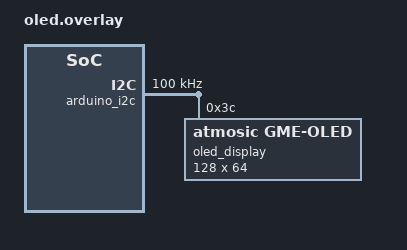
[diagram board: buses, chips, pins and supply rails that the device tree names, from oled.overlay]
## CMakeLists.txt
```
# Copyright (c) 2025-2026 Atmosic
#
# SPDX-License-Identifier: LicenseRef-Atmosic

cmake_minimum_required(VERSION 3.20.0)
find_package(Zephyr REQUIRED HINTS $ENV{ZEPHYR_BASE})
project(ras_rreq_initiator)

include_directories(
  src
)

set(app_sources
  src/main.c
  src/rreq_smf.c
)

target_sources(app PRIVATE
  ${app_sources}
)

target_sources_ifdef(CONFIG_RREQ_USE_ARIAD app PRIVATE src/cs_distance.c)
target_sources_ifdef(CONFIG_RREQ_USE_DISPLAY app PRIVATE src/cs_display.c)
```

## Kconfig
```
# Copyright (c) 2025-2026 Atmosic
#
# SPDX-License-Identifier: LicenseRef-Atmosic

source "Kconfig.zephyr"

config BTN_DISABLE_CS_PROC
	bool "Enable/Disable CS Procedure with Button"

config AUTO_ENABLE_CS_FOR_UNSPECIFIED_ABORT
	bool "Auto Enable CS Procedure as abort with unspecified reason"
	default y

config CS_PROC_ANT_CFG_SEL
	int "CS Tone Antenna Selection 0:1_1 1:2_1 2:3_1 3:4_1 4:1-2 5:1_3 6:1_4 7:2_2"
	range 0 7
	default 7

config TX_POWER_DELTA
	int "Transmit Power Delta (signed dB)"
	range -128 127
	default 0
	help
	  Transmit power delta, in signed dB, to indicate the recommended difference
	  between the remote device's power level for the CS tones and RTT packets
	  and the existing power level for the PHY indicated by the PHY parameter.
	  Value 0x80 (-128) indicates that the host does not have a recommendation
	  for transmit power delta.

config TX_PHY_CS_REF
	bool "Use current TX PHY as CS reference TX power PHY"
	depends on BT_USER_PHY_UPDATE
	default y
	help
	  Enable to use the current TX PHY as the reference PHY for CS transmit power.
	  When enabled, the CS procedure will use the same PHY settings as the current
	  TX PHY for power reference calculations.

config READ_RSSI
	bool "Read RSSI after CS procedure"

config ATM_BT_PHY_UPDATE
	bool "Enable PHY Update"
	depends on BT_USER_PHY_UPDATE
	help
	  Enable automatic PHY update to the configured mode if a different PHY is detected
	  during connection. When enabled, the system will attempt to update the PHY to the
	  mode specified by CONFIG_ATM_BT_PHY.

config ATM_BT_PHY
	int "Preferred PHY Mode"
	depends on ATM_BT_PHY_UPDATE
	range 0 2
	default 1
	help
	  Select the preferred PHY mode for automatic PHY updates:
	  0: 1M PHY - Enhanced range and signal penetration
	  1: 2M PHY - Higher data rate for improved throughput
	  2: Coded PHY - Extended range with lower data rate

config ATM_CS_QUICK_TEST
	bool "CS interval with 180ms with two sub-events"

config RREQ_SET_RAS_FILTER
	bool "Set RAS Mode 2 ranging data filter"
	help
	  When enabled, after subscribing to the RAS Control Point and
	  before subscribing to ranging data, the initiator sends a
	  Set Filter CP command with Mode 2 and the mask value
	  configured by RREQ_RAS_FILTER_MODE_2_MASK to filter out the
	  selected Mode 2 fields from ranging data reported by the
	  server.

config RREQ_RAS_FILTER_MODE_2_MASK
	hex "Mode 2 filter mask value for Set Filter CP command"
	depends on RREQ_SET_RAS_FILTER
	range 0x0000 0x3FFF
	default 0x3FF8
	help
	  14-bit filter mask value sent with the Set Filter CP command
	  for Mode 2. A set bit keeps the corresponding field in the
	  ranging data; a cleared bit filters it out.

	  Mode 2 mask bits:
	    bit 0   : Antenna Permutation Index
	    bit 1   : Phase Correction Term
	    bit 2   : Quality Indicator and Extension Indicator
	    bit 3-6 : Antenna Path 1~3 unsupported indication

	  The default 0x3FF8 clears all step data for mode2

config ENABLE_CS_REF_IPT
	bool "Enable CS reflector inline PCT"
	select BT_LE_EXTENDED_FEAT_SET
	select ATM_ENA_LL_FEAT_CS_ENH1

config FORCE_DISABLE_IPT
	bool "Support IPT but disable IPT for CS config"
	depends on ENABLE_CS_REF_IPT

config RREQ_DISABLE_RD_SUB
	bool "Disable ranging data subscriptions"
	help
	  When enabled, the initiator skips all ranging data
	  subscriptions in the RREQ_SMF_RAS_SUBSCRIBE state. This
	  covers both the real-time ranging data subscription (when
	  RAS_CLIENT_REAL_TIME_RD is enabled) and the on-demand
	  ranging data subscriptions (ranging data overwritten,
	  ranging data ready, and on-demand ranging data). Only the
	  RAS Control Point subscription is kept.

config RREQ_IQ_DUMP
	bool "Stream the raw CS IQ records over the console UART"
	default y
	help
	  On by default: Stream the raw CS IQ records over the console UART.

config RREQ_USE_ARIAD
	bool "Link the Ariad distance estimator (openair/lib/ariad)"
	select ATM_ARIAD_LIB
	help
	  Links the prebuilt libariad.a from openair/lib/ariad and enables the
	  estimator-backed CS distance path (cs_distance.c). Exercised by the
	  applications.ras_rreq_initiator.atm.ariad test configuration.

config RREQ_USE_DISPLAY
	bool "Show the CS distance on a GME OLED"
	depends on RREQ_USE_ARIAD
	select I2C
	select DISPLAY
	select CHARACTER_FRAMEBUFFER
	help
	  Enables cs_display.c, which mirrors the smoothed CS distance from the
	  Ariad estimator to a GME I2C OLED (the oled_display node in
	  oled.overlay) through the character framebuffer. Separate from
	  RREQ_USE_ARIAD; prj.conf sets it n by default so boards without the OLED
	  module still build the estimator path cleanly. Set
	  CONFIG_RREQ_USE_DISPLAY=y in prj.conf (or a board overlay) on a board
	  that carries the OLED, and pass oled.overlay so the node exists.

module = RREQ
module-str = RREQ
source "subsys/logging/Kconfig.template.log_config"

module = RREQ_SMF
module-str = RREQ_SMF
source "subsys/logging/Kconfig.template.log_config"
```

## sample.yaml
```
# Copyright (c) 2025-2026 Atmosic
#
# SPDX-License-Identifier: LicenseRef-Atmosic

sample:
  name: Bluetooth Central RAS RREQ Initiator
  description: Demonstrates the ranging requestor RAS
common:
  sysbuild: true
  harness: console
  harness_config:
    type: one_line
    regex:
      - "scan entry"
  tags:
    - bluetooth
    - channel_sounding
  # app.overlay drives &button1, so it only compiles on a board declaring a
  # second user button.
  depends_on:
    - button1
    - channel_sounding
tests:
  applications.ras_rreq_initiator.atm:
    tags:
      - openair_release
    extra_args:
      - spe_DTC_OVERLAY_FILE=${ZEPHYR_OPENAIR_MODULE_DIR}/applications/ras_rreq_initiator/spe_uart0.overlay
  applications.ras_rreq_initiator.atm.ariad:
    tags:
      - ariad
    extra_args:
      - spe_DTC_OVERLAY_FILE=${ZEPHYR_OPENAIR_MODULE_DIR}/applications/ras_rreq_initiator/spe_uart0.overlay
      - EXTRA_CONF_FILE=cs_ariad.conf
  applications.ras_rreq_initiator.atm.ariad.oled:
    tags:
      - ariad
    extra_args:
      - spe_DTC_OVERLAY_FILE=${ZEPHYR_OPENAIR_MODULE_DIR}/applications/ras_rreq_initiator/spe_uart0.overlay
      - EXTRA_DTC_OVERLAY_FILE=oled.overlay
      - EXTRA_CONF_FILE=cs_ariad.conf
    extra_configs:
      - CONFIG_RREQ_USE_DISPLAY=y
  applications.ras_rreq_initiator.atm.ipt:
    tags:
      - openair_release
    extra_args:
      - spe_DTC_OVERLAY_FILE=${ZEPHYR_OPENAIR_MODULE_DIR}/applications/ras_rreq_initiator/spe_uart0.overlay
    extra_configs:
      - CONFIG_ENABLE_CS_REF_IPT=y
  applications.ras_rreq_initiator.atm.ipt.no_rd_sub:
    extra_args:
      - spe_DTC_OVERLAY_FILE=${ZEPHYR_OPENAIR_MODULE_DIR}/applications/ras_rreq_initiator/spe_uart0.overlay
    extra_configs:
      - CONFIG_ENABLE_CS_REF_IPT=y
      - CONFIG_RREQ_DISABLE_RD_SUB=y
  applications.ras_rreq_initiator.atm.ras_c_shell:
    extra_configs:
      - CONFIG_RAS_CLIENT_SHELL=y
      - CONFIG_LOG_BACKEND_UART=y
      - CONFIG_SHELL_LOG_BACKEND=n
  applications.ras_rreq_initiator.atm.pwr_info:
    extra_configs:
      - CONFIG_BT_TRANSMIT_POWER_CONTROL=y
      - CONFIG_READ_RSSI=y
  applications.ras_rreq_initiator.atm.phy_update:
    extra_configs:
      - CONFIG_ATM_BT_PHY_UPDATE=y
  applications.ras_rreq_initiator.atm.mcuboot.flash_xip:
    tags:
      - mcuboot
      - flash_xip
    depends_on:
      - flash
      - rram
      - xip
    extra_args:
      - SB_CONFIG_BOOTLOADER_MCUBOOT=y
      - SB_CONFIG_BOOT_SIGNATURE_TYPE_ECDSA_P256=y
      - SB_CONFIG_MCUBOOT_MODE_SWAP_USING_OFFSET=y
      - SB_ATM_DTS_EXTRA_CPPFLAGS="-DATM_APP_FLASH_XIP"
      - mcuboot_CONFIG_UPDATEABLE_IMAGE_NUMBER=2
  applications.ras_rreq_initiator.atm.mcuboot.flash_xip.legacy_scratch:
    tags:
      - mcuboot
      - flash_xip
      - legacy
    depends_on:
      - flash
      - rram
      - xip
    extra_args:
      - SB_CONFIG_BOOTLOADER_MCUBOOT=y
      - SB_CONFIG_BOOT_SIGNATURE_TYPE_ECDSA_P256=y
      - SB_CONFIG_MCUBOOT_MODE_SWAP_SCRATCH=y
      - SB_ATM_DTS_EXTRA_CPPFLAGS="-DATM_APP_FLASH_XIP;-DATM_MCUBOOT_SWAP_WITH_OFFSET=0"
      - mcuboot_CONFIG_UPDATEABLE_IMAGE_NUMBER=2
  applications.ras_rreq_initiator.atm.mcuboot.flash_xip.overwrite:
    tags:
      - mcuboot
      - flash_xip
      - overwrite
    depends_on:
      - flash
      - rram
      - xip
    extra_args:
      - SB_CONFIG_BOOTLOADER_MCUBOOT=y
      - SB_CONFIG_BOOT_SIGNATURE_TYPE_ECDSA_P256=y
      - SB_CONFIG_MCUBOOT_MODE_OVERWRITE_ONLY=y
      - SB_ATM_DTS_EXTRA_CPPFLAGS="-DATM_APP_FLASH_XIP;-DATM_MCUBOOT_SCRATCH_SIZE=0"
      - mcuboot_CONFIG_UPDATEABLE_IMAGE_NUMBER=2
      - mcuboot_CONFIG_MCUBOOT_VERIFY_IMG_ADDRESS=n
  applications.ras_rreq_initiator.atm.two_dev:
    tags:
      - two_dev
    extra_args:
      - EXTRA_DTC_OVERLAY_FILE=no_button.overlay
      - spe_DTC_OVERLAY_FILE=${ZEPHYR_OPENAIR_MODULE_DIR}/applications/ras_rreq_initiator/spe_uart0.overlay
    extra_configs:
      - CONFIG_BT_LOG_SNIFFER_INFO=y
    harness: pytest
    timeout: 600
    harness_config:
      pytest_root: ["pytest"]
  applications.ras_rreq_initiator.atm.two_dev.quick:
    tags:
      - two_dev
    extra_args:
      - EXTRA_DTC_OVERLAY_FILE=no_button.overlay
      - spe_DTC_OVERLAY_FILE=${ZEPHYR_OPENAIR_MODULE_DIR}/applications/ras_rreq_initiator/spe_uart0.overlay
    extra_configs:
      - CONFIG_BT_LOG_SNIFFER_INFO=y
      - CONFIG_ATM_CS_QUICK_TEST=y
    timeout: 720
    harness_config:
      type: one_line
      regex:
        - "Init Proc:3000"
```

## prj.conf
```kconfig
# Copyright (c) 2025-2026 Atmosic
#
# SPDX-License-Identifier: LicenseRef-Atmosic

# STACK SIZE
CONFIG_MAIN_STACK_SIZE=2048
CONFIG_SYSTEM_WORKQUEUE_STACK_SIZE=2048

# LOG
CONFIG_LOG=y

# Power Management
CONFIG_PM=n

# BT
CONFIG_BT=y
CONFIG_BT_CENTRAL=y
CONFIG_BT_SMP=y
CONFIG_BT_PRIVACY=y
CONFIG_BT_ATT_TX_COUNT=4
CONFIG_BT_CHANNEL_SOUNDING=y
CONFIG_BT_USER_PHY_UPDATE=y
CONFIG_BT_AUTO_PHY_CENTRAL_NONE=y

CONFIG_BT_DEVICE_NAME="Atmosic_RAS_RREQ"

# SETTINGS
CONFIG_BT_SETTINGS=y
CONFIG_FLASH=y
CONFIG_FLASH_PAGE_LAYOUT=y
CONFIG_FLASH_MAP=y
CONFIG_NVS=y
CONFIG_SETTINGS=y

# STACK SENTINEL
CONFIG_STACK_SENTINEL=y

# APP work queue
CONFIG_APP_WORK_Q=y

CONFIG_SMF=y

# RAS client
CONFIG_BT_RAS_CLIENT=y
CONFIG_LOG_BUFFER_SIZE=10240
CONFIG_LOG_BACKEND_UART_BUFFER_SIZE=10240
CONFIG_LOG_BACKEND_SHOW_COLOR=n
CONFIG_LOG_BACKEND_FORMAT_TIMESTAMP=n
CONFIG_LOG_FUNC_NAME_PREFIX_DBG=n

# LL FEAT
CONFIG_ATM_ENA_LL_FEAT_CS=y
CONFIG_ATM_ENA_LL_FEAT_PERIPHERAL=n
CONFIG_ATM_ENA_LL_FEAT_BROADCASTER=n
CONFIG_ATM_ENA_LL_FEAT_PAWR=n
```

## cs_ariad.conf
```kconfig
# Copyright (c) 2025-2026 Atmosic
#
# SPDX-License-Identifier: LicenseRef-Atmosic

CONFIG_RREQ_USE_ARIAD=y
CONFIG_MAIN_STACK_SIZE=4096
CONFIG_LOG_BUFFER_SIZE=2048
CONFIG_LOG_BACKEND_UART_BUFFER_SIZE=2048
CONFIG_LOG_PROCESS_THREAD_SLEEP_MS=100
CONFIG_ATM_LL_HEAP_SIZE=34672

# Ariad not support IQ dump
CONFIG_RREQ_IQ_DUMP=n

# OLED Display
# Support Module
#   - GME: GM009605
#   - GME: GME12864
CONFIG_RREQ_USE_DISPLAY=n
```

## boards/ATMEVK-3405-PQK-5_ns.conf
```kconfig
# BT STKLIB
CONFIG_ATMWSTK_FULL=y
```

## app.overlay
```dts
/*
 * Copyright (c) 2025-2026 Atmosic
 *
 * SPDX-License-Identifier: LicenseRef-Atmosic
 */

/ {
	aliases {
		sw1 = &button1;
	};

	chosen {
		zephyr,console = &uart0;
		zephyr,shell-uart = &uart0;
	};
};

&uart0 {
	status = "okay";
	current-speed = <2000000>;
	hw-flow-control;
};

&atm_antenna {
	status = "okay";
	ant-out5-pin = <5>;
	mdm-ant-rx-3to0 = <0x00002000>;
	mdm-ant-tx-3to0 = <0x00002000>;
	mdm-ant-idle = <0x0>;
};

&wdog0 {
	status = "okay";
};
```

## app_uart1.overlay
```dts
/*
 * Copyright (c) 2025-2026 Atmosic
 *
 * SPDX-License-Identifier: LicenseRef-Atmosic
 */

/ {
	aliases {
		sw1 = &button1;
	};
};

&atm_antenna {
	status = "okay";
	ant-out5-pin = <5>;
	mdm-ant-rx-3to0 = <0x00002000>;
	mdm-ant-tx-3to0 = <0x00002000>;
	mdm-ant-idle = <0x0>;
};

&wdog0 {
	status = "okay";
};
```

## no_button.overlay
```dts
/*
 * Copyright (c) 2025-2026 Atmosic
 *
 * SPDX-License-Identifier: LicenseRef-Atmosic
 */

/*
 * Test overlay to disable button1 for testing ras_rrsp_initiator application
 * without button hardware
 */

&button1 {
	status = "disabled";
};
```

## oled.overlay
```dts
/*
 * Copyright (c) 2026 Atmosic
 *
 * SPDX-License-Identifier: LicenseRef-Atmosic
 */

/*
 * GME OLED on the Arduino I2C header, for CONFIG_RREQ_USE_DISPLAY.
 * cs_display.c binds through chosen/zephyr,display, so that property is what
 * actually selects the panel. Mirrors samples/drivers/display/gme/app.overlay.
 *
 * Apply on top of the default app.overlay:
 *   -DEXTRA_DTC_OVERLAY_FILE=oled.overlay -DCONFIG_RREQ_USE_DISPLAY=y
 *
 * arduino_i2c and the i2c0 pinctrl live behind ATM_DTS_USER_APP in the board
 * .dts, which is set automatically for the non-secure application image, so no
 * extra DTS_EXTRA_CPPFLAGS are needed here.
 */

/ {
	chosen {
		zephyr,display = &oled_display;
	};
};

&arduino_i2c {
	status = "okay";
	clock-frequency = <I2C_BITRATE_STANDARD>;

	oled_display: oled@3c {
		compatible = "atmosic,gme-oled";
		reg = <0x3c>;
		width = <128>;
		height = <64>;
		display-offset = <0>;
		multiplex-ratio = <63>;
		segment-remap;
		com-invdir;

		/* Both modules' datasheets ask for these two. */
		prechargep = <0xf1>;
		vcom-desel-level = <0x40>;

		max-write-len = <8>;
		write-gap-us = <2000>;
	};
};
```

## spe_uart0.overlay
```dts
/*
 * Copyright (c) 2025-2026 Atmosic
 *
 * SPDX-License-Identifier: LicenseRef-Atmosic
 */

/ {
	chosen {
		zephyr,console = &uart0;
		zephyr,shell-uart = &uart0;
	};
};

&uart0 {
	status = "okay";
	current-speed = <2000000>;
	hw-flow-control;
};
```

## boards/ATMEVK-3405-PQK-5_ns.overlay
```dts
/*
 * Copyright (c) 2025 Atmosic
 *
 * SPDX-License-Identifier: Apache-2.0
 */

/ {
	aliases {
		sw1 = &button1;
	};

	chosen {
		zephyr,console = &uart0;
		zephyr,shell-uart = &uart0;
	};
};

&uart0 {
	status = "okay";
	current-speed = <2000000>;
	hw-flow-control;
};

&atm_antenna {
	status = "okay";
	ant-out5-pin = <5>;
	mdm-ant-rx-3to0 = <0x00002000>;
	mdm-ant-tx-3to0 = <0x00002000>;
	mdm-ant-idle = <0x0>;
};
```

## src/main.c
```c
/*
 * Copyright (c) 2025-2026 Atmosic
 *
 * SPDX-License-Identifier: LicenseRef-Atmosic
 */

#include <zephyr/drivers/watchdog.h>
#include <zephyr/logging/log.h>

#include "app_work_q.h"
#include "rreq_smf.h"
#if defined(CONFIG_RREQ_USE_ARIAD) && defined(CONFIG_RREQ_USE_DISPLAY)
#include "cs_display.h"
#endif

LOG_MODULE_REGISTER(rreq, CONFIG_RREQ_LOG_LEVEL);

#define WDT_POKE_TIME     K_SECONDS(3)
#define WDT_MIN_WINDOW_MS 0
#define WDT_MAX_WINDOW_MS 5000

static struct device const *wdog_dev = DEVICE_DT_GET(DT_ALIAS(watchdog0));
static int wdt_channel_id;
static struct k_work_delayable wdt_poke_work;

static void wdt_poke_work_handler(struct k_work *work)
{
	wdt_feed(wdog_dev, wdt_channel_id);
	atm_work_schedule_for_app_work_q(&wdt_poke_work, WDT_POKE_TIME);
}

int main(void)
{
	const struct wdt_timeout_cfg wdt_config = {
		.flags = WDT_FLAG_RESET_SOC,
		.window.min = WDT_MIN_WINDOW_MS,
		.window.max = WDT_MAX_WINDOW_MS,
	};

	wdt_channel_id = wdt_install_timeout(wdog_dev, &wdt_config);
	if (wdt_channel_id < 0) {
		LOG_ERR("Watchdog install error: %d", wdt_channel_id);
		return 1;
	}

	int ret = wdt_setup(wdog_dev, 0);
	if (ret < 0) {
		LOG_ERR("Watchdog setup error: %d", ret);
		return 1;
	}

	k_work_init_delayable(&wdt_poke_work, wdt_poke_work_handler);
	atm_work_schedule_for_app_work_q(&wdt_poke_work, WDT_POKE_TIME);

#if defined(CONFIG_RREQ_USE_ARIAD) && defined(CONFIG_RREQ_USE_DISPLAY)
	cs_display_init();
#endif

	rreq_smf_init();

	return 0;
}
```

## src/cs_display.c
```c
/*
 * Copyright (c) 2026 Atmosic
 *
 * SPDX-License-Identifier: LicenseRef-Atmosic
 */

#include "cs_display.h"

#include <stdio.h>
#include <string.h>

#include <zephyr/kernel.h>
#include <zephyr/device.h>
#include <zephyr/devicetree.h>
#include <zephyr/drivers/display.h>
#include <zephyr/display/cfb.h>
#include <zephyr/logging/log.h>

LOG_MODULE_REGISTER(cs_display, CONFIG_RREQ_LOG_LEVEL);

#define CS_DISPLAY_TITLE     "Atmosic"
#define CS_DISPLAY_BAND_ROWS 16
#define CS_DISPLAY_MAX_COLS  6

static const struct device *const display_dev = DEVICE_DT_GET(DT_CHOSEN(zephyr_display));
static bool display_ready;
static uint16_t disp_w;
static uint16_t disp_h;
static uint8_t title_font;
static uint8_t title_fw;
static uint8_t title_fh;
static uint8_t value_font;
static uint8_t value_fw;
static uint8_t value_fh;

/* Largest built-in font whose `cols` characters still fit `max_h` rows. */
static uint8_t cs_display_pick_font(size_t cols, uint8_t max_h, uint8_t *out_w, uint8_t *out_h)
{
	uint8_t best = 0;
	uint8_t fw;
	uint8_t fh;

	*out_w = 0;
	*out_h = 0;
	for (uint8_t idx = 0; cfb_get_font_size(display_dev, idx, &fw, &fh) == 0; idx++) {
		if (((size_t)fw * cols <= disp_w) && (fh <= max_h)) {
			best = idx;
			*out_w = fw;
			*out_h = fh;
		}
	}
	if (!*out_w) {
		/* Nothing fits the budget; fall back to the smallest font. */
		cfb_get_font_size(display_dev, 0, out_w, out_h);
	}
	return best;
}

/* Horizontally centre one line of text on the given top row. */
static void cs_display_print_centered(const char *s, uint8_t fw, int y)
{
	int x = ((int)disp_w - (int)(fw * strlen(s))) / 2;

	cfb_print(display_dev, s, MAX(x, 0), y);
}

void cs_display_init(void)
{
	if (!device_is_ready(display_dev)) {
		LOG_ERR("Display device %s not ready", display_dev->name);
		return;
	}

	if (display_set_pixel_format(display_dev, PIXEL_FORMAT_MONO10) != 0 &&
	    display_set_pixel_format(display_dev, PIXEL_FORMAT_MONO01) != 0) {
		LOG_ERR("Failed to set display pixel format");
		return;
	}

	if (cfb_framebuffer_init(display_dev)) {
		LOG_ERR("Framebuffer initialization failed");
		return;
	}

	cfb_framebuffer_clear(display_dev, true);
	display_blanking_off(display_dev);

	disp_w = cfb_get_display_parameter(display_dev, CFB_DISPLAY_WIDTH);
	disp_h = cfb_get_display_parameter(display_dev, CFB_DISPLAY_HEIGHT);

	title_font = cs_display_pick_font(strlen(CS_DISPLAY_TITLE), CS_DISPLAY_BAND_ROWS, &title_fw,
					  &title_fh);
	value_font =
		cs_display_pick_font(CS_DISPLAY_MAX_COLS, (uint8_t)(disp_h - CS_DISPLAY_BAND_ROWS),
				     &value_fw, &value_fh);

	LOG_INF("Display %ux%u title font %u (%ux%u) value font %u (%ux%u)", disp_w, disp_h,
		title_font, title_fw, title_fh, value_font, value_fw, value_fh);

	display_ready = true;
}

void cs_display_show_distance(const char *smoothed_distance_m)
{
	char line[24];

	if (!display_ready) {
		return;
	}

	/* smoothed_distance_m is already formatted to one fractional digit
	 * (e.g. "1.2" or "nan") by fmt_m_1dp() in cs_distance.c, so it only
	 * needs the unit suffix appended here. */
	snprintf(line, sizeof(line), "%s m", smoothed_distance_m);

	/* Each line centred within its own colour band so neither straddles the
	 * yellow/blue boundary at CS_DISPLAY_BAND_ROWS. */
	int title_y = ((int)CS_DISPLAY_BAND_ROWS - (int)title_fh) / 2;
	int value_y =
		CS_DISPLAY_BAND_ROWS + ((int)disp_h - CS_DISPLAY_BAND_ROWS - (int)value_fh) / 2;

	cfb_framebuffer_clear(display_dev, false);
	cfb_framebuffer_set_font(display_dev, title_font);
	cs_display_print_centered(CS_DISPLAY_TITLE, title_fw, MAX(title_y, 0));
	cfb_framebuffer_set_font(display_dev, value_font);
	cs_display_print_centered(line, value_fw, MAX(value_y, CS_DISPLAY_BAND_ROWS));
	cfb_framebuffer_finalize(display_dev);
}
```

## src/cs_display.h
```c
/*
 * Copyright (c) 2026 Atmosic
 *
 * SPDX-License-Identifier: LicenseRef-Atmosic
 */

#pragma once

#include <zephyr/autoconf.h>

#ifdef __cplusplus
extern "C" {
#endif

/**
 * @brief Initialize the I2C GME OLED display and its character
 * framebuffer. Call once at startup, before cs_display_show_distance() is
 * used. If the display device is not ready, subsequent
 * cs_display_show_distance() calls are silently ignored.
 */
void cs_display_init(void);

/**
 * @brief Render the smoothed CS distance on the OLED display.
 *
 * @param smoothed_distance_m Already-formatted distance string in metres
 * with one fractional digit (e.g. "1.2"), produced by fmt_m_1dp() in
 * cs_distance.c alongside the full-precision UART log line.
 */
void cs_display_show_distance(const char *smoothed_distance_m);

#ifdef __cplusplus
}
#endif
```

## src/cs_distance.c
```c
/*
 * Copyright (c) 2026 Atmosic
 *
 * SPDX-License-Identifier: LicenseRef-Atmosic
 */

#include <math.h>

#include <zephyr/kernel.h>
#include <zephyr/logging/log.h>
#include <zephyr/net_buf.h>
#include <zephyr/bluetooth/cs.h>
#include <zephyr/bluetooth/hci_types.h>

#include "ras.h"
#include "cs_distance.h"
#include "cs_display.h"
#include "estimator.h"
#include "scored_pool.h"

LOG_MODULE_DECLARE(rreq_smf, CONFIG_RREQ_SMF_LOG_LEVEL);

#define CS_DIST_MAX_STEPS BT_RAS_MAX_STEPS_PER_PROCEDURE

/*
 * RAS ranging-data subevent header wire format (8 bytes). Mirrors the
 * ras_rd_subevent_hdr_t in the RAS subsys private header; redefined locally
 * to avoid depending on the subsys-internal include path.
 */
struct cs_ras_subevent_hdr {
	uint16_t acl_conn_evt;
	uint16_t freq_comp;
	uint8_t done_status;
	uint8_t abort_reason;
	uint8_t ref_pwr_lvl;
	uint8_t reported_step;
} __packed;
BUILD_ASSERT(sizeof(struct cs_ras_subevent_hdr) == 8, "RAS subevent header must be 8 bytes");

static uint8_t cached_step_modes[CS_DIST_MAX_STEPS];
static uint8_t cached_step_channels[CS_DIST_MAX_STEPS];
static uint16_t cached_step_count;
static uint32_t cached_init_proc = UINT32_MAX;

/*
 * Decoded per-side measurement buffers, fed straight to the estimator with
 * no intermediate text/CSV formatting (minimal copying). Each mode-2 step
 * contributes up to n_ap (<= 4) records; a full procedure was observed with
 * ~72 channels x 4 antennas = 288 records, so 320 leaves headroom. Records
 * past the cap are dropped with a warning.
 *
 * Do NOT raise this to silence a "meas buffer full" warning. One procedure
 * cannot exceed the cap, so hitting it means several procedures were merged
 * upstream and the snapshot is already corrupt -- the cap is what bounds the
 * damage, not what causes it. Measured on ATM34 at a true 2.5 m: raising it to
 * 512 turned the warning into visibly worse output (134 -> 38 distances,
 * median 4.38 m -> 15.20 m, "not enough mem" 8 -> 103) and exposed init_meas_n
 * reaching 428 and 512, far past the ~296 a single procedure produces.
 *
 * The real causes were fixed elsewhere: latest_local_steps is now flushed when
 * a new procedure starts before the previous one was drained (rreq_smf.c), and
 * reflector data whose procedure counter does not match cached_init_proc is
 * dropped rather than paired against the wrong initiator snapshot (see
 * cs_distance_dump_peer below). If this warning reappears, look at those two
 * paths first.
 */
#define CS_DIST_MAX_MEAS 320
static ChannelMeasI16 init_meas[CS_DIST_MAX_MEAS];
static ChannelMeasI16 refl_meas[CS_DIST_MAX_MEAS];
static uint16_t init_meas_n;
static uint16_t refl_meas_n;

/*
 * Static EstimatorSession backing store. The session type is opaque, so the
 * buffer is sized against estimator_session_size() and validated at runtime.
 * Persists across procedures (Kalman history).
 *
 * sizeof(EstimatorSession) for this build (ereal=float, E_MAX_ANTENNAS=4,
 * E_MAX_CANDS_PER_ANT=16 -> E_MAX_CANDS_TOTAL=64, SP_HISTORY_LEN=8,
 * ESTIMATOR_ENABLE_SHORT_RANGE_DELEAK=0) is 13016 B, confirmed by
 * disassembling estimator_session_size() (movw r0, #13016). The struct is
 * fixed-size (no flexible array / trailing sub-allocation), and
 * estimator_init_static() guards on buffer_size < sizeof(EstimatorSession)
 * and only writes sizeof(*s) bytes. 14 KiB leaves ~1.3 KiB margin and is
 * 8-aligned to satisfy _Alignof(EstimatorSession).
 */
#define CS_DIST_SESSION_BYTES (14u * 1024u)
static uint8_t __aligned(8) session_buf[CS_DIST_SESSION_BYTES];
static EstimatorSession *session;

struct init_walk_ctx {
	uint8_t n_ap;
	uint16_t step_idx;
	uint16_t mode2_count;
};

/*
 * Decode the n_ap mode-2 tones for one step and append them to a
 * measurement array. The antenna path is resolved via the permutation
 * table so initiator and reflector records pair up on the same physical
 * (channel, antenna) inside the estimator's align stage.
 */
static void append_mode2_meas(ChannelMeasI16 *arr, uint16_t *n, uint8_t channel, uint8_t n_ap,
			      uint8_t perm, const struct bt_hci_le_cs_step_data_tone_info *tones)
{
	for (uint8_t i = 0; i < n_ap; i++) {
		if (*n >= CS_DIST_MAX_MEAS) {
			LOG_WRN("meas buffer full (%u)", CS_DIST_MAX_MEAS);
			return;
		}
		int ap = bt_le_cs_get_antenna_path(n_ap, perm, i);
		if (ap < 0) {
			LOG_WRN("bad ap n_ap=%u perm=%u i=%u", n_ap, perm, i);
			continue;
		}
		struct bt_le_cs_iq_sample iq = bt_le_cs_parse_pct(tones[i].phase_correction_term);
		ChannelMeasI16 *m = &arr[(*n)++];
		m->channel = (int16_t)channel;
		m->antenna = (int16_t)ap;
		m->I = (int16_t)iq.i;
		m->Q = (int16_t)iq.q;
		m->quality = (int16_t)tones[i].quality_indicator;
		m->_pad = 0;
	}
}

static bool init_step_cb(struct bt_le_cs_subevent_step *step, void *user_data)
{
	struct init_walk_ctx *ctx = user_data;

	if (ctx->step_idx >= CS_DIST_MAX_STEPS) {
		LOG_WRN("init step cache overflow at %u", ctx->step_idx);
		return false;
	}
	cached_step_modes[ctx->step_idx] = step->mode;
	cached_step_channels[ctx->step_idx] = step->channel;
	ctx->step_idx++;

	if (step->mode == BT_HCI_OP_LE_CS_MAIN_MODE_2) {
		const struct bt_hci_le_cs_step_data_mode_2 *m2 =
			(const struct bt_hci_le_cs_step_data_mode_2 *)step->data;
		append_mode2_meas(init_meas, &init_meas_n, step->channel, ctx->n_ap,
				  m2->antenna_permutation_index, m2->tone_info);
		ctx->mode2_count++;
	}
	return true;
}

void cs_distance_dump_init(uint32_t proc, uint8_t n_ap, const uint8_t *data, uint16_t len)
{
	if (!data || !len || !n_ap || n_ap > 4) {
		LOG_WRN("init bad args proc=%u n_ap=%u len=%u", proc, n_ap, len);
		return;
	}

	init_meas_n = 0;

	struct net_buf_simple ns;
	net_buf_simple_init_with_data(&ns, (void *)data, len);

	struct init_walk_ctx ctx = {.n_ap = n_ap};
	bt_le_cs_step_data_parse(&ns, init_step_cb, &ctx);

	cached_init_proc = proc;
	cached_step_count = ctx.step_idx;
}

/*
 * Body length for a single peer step body (excluding the 1-byte step_mode).
 * Mirrors BT_RAS_STEP_MODE_*_MAX_LEN sizing from rreq_smf.c.
 */
static uint16_t peer_step_body_len(uint8_t mode, uint8_t n_ap)
{
	switch (mode) {
	case 0:
		return sizeof(struct bt_hci_le_cs_step_data_mode_0_reflector);
	case 1:
		/* Non-ss_rtt layout (6 bytes); the RAS configuration in use never
		 * carries the extra ss_rtt PCT fields. Matches csplot's peer
		 * parser (resolve_rap_ref_raw_to_stepDict).
		 */
		return sizeof(struct bt_hci_le_cs_step_data_mode_1);
	case 2:
		return sizeof(struct bt_hci_le_cs_step_data_mode_2) +
		       (n_ap + 1) * sizeof(struct bt_hci_le_cs_step_data_tone_info);
	case 3:
		return sizeof(struct bt_hci_le_cs_step_data_mode_3) +
		       (n_ap + 1) * sizeof(struct bt_hci_le_cs_step_data_tone_info);
	default:
		return 0;
	}
}

/*
 * Format an ereal metre value as a fixed-point millimetre string using
 * integer math only, so no soft-float printf support is pulled in.
 */
static void fmt_mm(ereal v, char *buf, size_t n)
{
	if (!isfinite((double)v)) {
		snprintk(buf, n, "nan");
		return;
	}
	int neg = v < ER(0.0);
	if (neg) {
		v = -v;
	}
	long mm = (long)(v * ER(1000.0) + ER(0.5));
	snprintk(buf, n, "%s%ld.%03ld", neg ? "-" : "", mm / 1000, mm % 1000);
}

/*
 * Format an ereal metre value to a single fractional digit (e.g. "1.2"),
 * for the OLED where a full millimetre-precision string doesn't fit.
 * Same integer-math approach as fmt_mm(), just scaled by 10 instead of
 * 1000, so callers get a ready-to-print string without any further
 * string manipulation.
 */
static void fmt_m_1dp(ereal v, char *buf, size_t n)
{
	if (!isfinite((double)v)) {
		snprintk(buf, n, "nan");
		return;
	}
	int neg = v < ER(0.0);
	if (neg) {
		v = -v;
	}
	long d = (long)(v * ER(10.0) + ER(0.5));
	/*
	 * Clamp both ends so the compiler can prove "%ld" fits the destination
	 * buffer (distances are physically well under 1000 m; this is just a
	 * display-string bound, not a real limit on the estimator output). The
	 * lower bound is needed for -Werror=format-truncation: v is already made
	 * non-negative above, but the compiler cannot prove it across the branch,
	 * so without it d/10 is treated as possibly ~-2e8 (10 digits).
	 */
	if (d < 0) {
		d = 0;
	}
	if (d > 9999) {
		d = 9999;
	}
	snprintk(buf, n, "%s%ld.%ld", neg ? "-" : "", d / 10, d % 10);
}

/*
 * Run one estimator snapshot from the accumulated init/refl buffers and
 * report the estimated distance to the UART in real time.
 */
static void run_estimator(uint32_t proc)
{
	if (!session) {
		/*
		 * Canonical production baseline, matching the validated parity
		 * harness (compare_c_vs_python.py / _baseline_env.sh):
		 * CLEAN_MAX_ITER=1 plus the Phase D/E/G features. The library's
		 * NULL defaults keep the older CLEAN_MAX_ITER=4 baseline with
		 * those phases off, so pass an explicit config here.
		 */
		const EstimatorConfig cfg = {
			.ifft_cal_factor = ER(1.0),
			.mcpd_enable = 1,
			.clean_max_iter = 1,
			.mcpd_base_score = ER(0.40),
			.flags = ESTIMATOR_F_MPM | ESTIMATOR_F_SEARCHBACK |
				 ESTIMATOR_F_SCORED_POOL | ESTIMATOR_F_FAT_PEAK |
				 ESTIMATOR_F_FAT_LS | ESTIMATOR_F_CLEAN_CANCEL |
				 ESTIMATOR_F_KALMAN_LOWER_BOUND | ESTIMATOR_F_SHORT_CLEAN_RESCUE |
				 ESTIMATOR_F_LR_CLUSTER_MCPD,
			.lr_selector_mode = SP_LR_MODE_CLUSTER_MCPD,
			.lr_selector_margin = ER(0.40),
		};

		session = estimator_init_static(session_buf, sizeof(session_buf), &cfg, (ereal)NAN);
		if (!session) {
			LOG_ERR("estimator init failed need=%u have=%u",
				(unsigned)estimator_session_size(), (unsigned)sizeof(session_buf));
			return;
		}
	}
	if (!init_meas_n || !refl_meas_n) {
		LOG_WRN("no meas proc=%u init=%u refl=%u", proc, init_meas_n, refl_meas_n);
		return;
	}

	EstimatorOutput out;
	ereal ts = (ereal)k_uptime_get() / ER(1000.0);
	int rc = estimator_process_snapshot_i16_at(session, init_meas, init_meas_n, refl_meas,
						   refl_meas_n, ts, &out);
	if (rc < 0) {
		LOG_ERR("estimator rc=%d proc=%u", rc, proc);
		return;
	}

	char rawb[16];
	char smb[16];
	char smb1[8];
	fmt_mm(out.raw_distance, rawb, sizeof(rawb));
	fmt_mm(out.smoothed_distance, smb, sizeof(smb));
	fmt_m_1dp(out.smoothed_distance, smb1, sizeof(smb1));
	LOG_INF("Ariad: proc=%u, raw=%s m, smoothed=%s m", proc, rawb, smb);

#ifdef CONFIG_RREQ_USE_DISPLAY
	/*
	 * This file only builds under RREQ_USE_ARIAD, so the estimator is a given
	 * here; the OLED on top of it is the separate opt-in.
	 */
	cs_display_show_distance(smb1);
#endif
}

void cs_distance_dump_peer(uint32_t proc, uint8_t n_ap, const uint8_t *data, uint16_t len)
{
	if (!data || !len || !n_ap || n_ap > 4) {
		LOG_WRN("peer bad args proc=%u n_ap=%u len=%u", proc, n_ap, len);
		return;
	}

	if ((cached_init_proc ^ proc) & BT_RAS_RD_HEADER_RANGING_COUNTER_MASK_REALTIME) {
		LOG_WRN("peer proc mismatch peer=%u cached_init=%u dropped", proc,
			cached_init_proc);
		return;
	}

	refl_meas_n = 0;

	const uint8_t *p = data;
	const uint8_t *end = data + len;
	uint16_t step_idx = 0;
	bool truncated = false;

	while (p < end && !truncated) {
		if ((size_t)(end - p) < sizeof(struct cs_ras_subevent_hdr)) {
			LOG_WRN("peer truncated subevent header off=%u", (unsigned)(p - data));
			break;
		}
		const struct cs_ras_subevent_hdr *hdr = (const void *)p;
		uint8_t reported = hdr->reported_step;
		p += sizeof(*hdr);

		for (uint8_t s = 0; s < reported && p < end; s++) {
			uint8_t mode = *p++;
			uint16_t body = peer_step_body_len(mode, n_ap);

			if (!body || (size_t)(end - p) < body) {
				LOG_WRN("peer truncated step s=%u mode=%u remain=%u", step_idx,
					mode, (unsigned)(end - p));
				truncated = true;
				break;
			}

			uint8_t channel = (step_idx < cached_step_count)
						  ? cached_step_channels[step_idx]
						  : 0xFF;
			uint8_t cmode =
				(step_idx < cached_step_count) ? cached_step_modes[step_idx] : 0xFF;
			if (cmode != 0xFF && cmode != mode) {
				LOG_WRN("peer mode mismatch s=%u peer=%u init=%u", step_idx, mode,
					cmode);
			}

			if (mode == BT_HCI_OP_LE_CS_MAIN_MODE_2) {
				const struct bt_hci_le_cs_step_data_mode_2 *m2 = (const void *)p;
				append_mode2_meas(refl_meas, &refl_meas_n, channel, n_ap,
						  m2->antenna_permutation_index, m2->tone_info);
			}
			p += body;
			step_idx++;
		}
	}

	run_estimator(cached_init_proc);
}
```

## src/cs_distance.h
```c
/*
 * Copyright (c) 2026 Atmosic
 *
 * SPDX-License-Identifier: LicenseRef-Atmosic
 */

#pragma once

#include <stdint.h>
#include <zephyr/autoconf.h>

#ifdef __cplusplus
extern "C" {
#endif

/**
 * @brief Decode and emit local (initiator) mode-2 IQ records for one procedure.
 *
 * Walks the raw HCI subevent step buffer using bt_le_cs_step_data_parse(),
 * decodes per-tone phase correction terms via bt_le_cs_parse_pct(), resolves
 * antenna paths via bt_le_cs_get_antenna_path(), and emits one DIQI line per
 * (mode-2 step, antenna path) tone. The step/channel/mode table is cached for
 * the subsequent peer-side walk.
 *
 * @param proc_counter Procedure counter for this snapshot.
 * @param n_ap         Number of antenna paths from the subevent header.
 * @param step_data    Pointer to the accumulated raw HCI step buffer.
 * @param len          Length of @p step_data in bytes.
 */
void cs_distance_dump_init(uint32_t proc_counter, uint8_t n_ap, const uint8_t *step_data,
			   uint16_t len);

/**
 * @brief Decode and emit peer (reflector) mode-2 IQ records for one procedure.
 *
 * Walks the RAS ranging-data step buffer (after the ranging header has been
 * stripped by bt_ras_client_ranging_data_parse()), iterating subevents and
 * their fixed-length step bodies. Mode-2 tones are decoded and emitted as DIQR
 * lines using the channel cached by the matching cs_distance_dump_init() call.
 *
 * @param proc_counter Procedure counter for this snapshot.
 * @param n_ap         Number of antenna paths from the subevent header.
 * @param step_data    Pointer to the peer step buffer (subevents back-to-back).
 * @param len          Length of @p step_data in bytes.
 */
void cs_distance_dump_peer(uint32_t proc_counter, uint8_t n_ap, const uint8_t *step_data,
			   uint16_t len);

#ifdef __cplusplus
}
#endif
```

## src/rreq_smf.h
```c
/*
 * Copyright (c) 2025-2026 Atmosic
 *
 * SPDX-License-Identifier: LicenseRef-Atmosic
 */

#pragma once

/**
 * @brief Initialize states machine for rreq application
 *
 * This function initializes the state for rreq application.
 *
 */
void rreq_smf_init(void);
```
